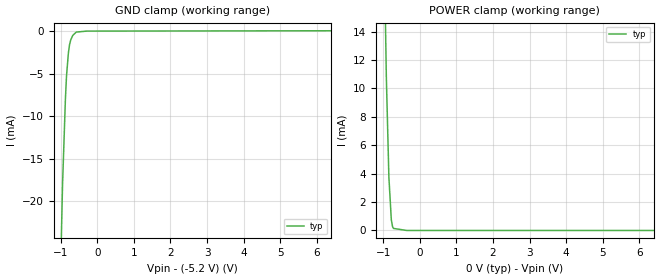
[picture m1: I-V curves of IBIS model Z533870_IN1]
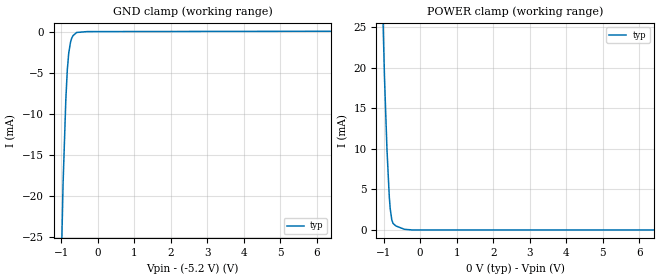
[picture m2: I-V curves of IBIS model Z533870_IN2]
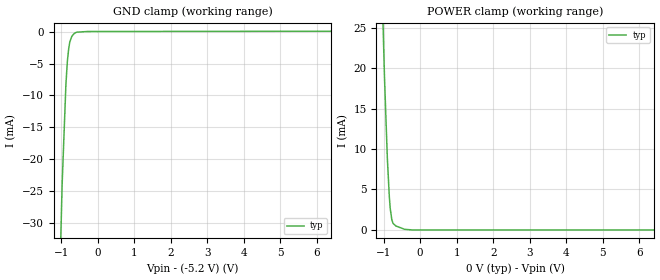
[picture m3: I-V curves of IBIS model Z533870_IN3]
| YOU ARE ONLY AUTHORIZED TO USE THIS SOFTWARE
| ACCORDING TO LICENSOR'S LICENSE RESTRICTIONS.
[IBIS Ver] 3.1
[File Name] mc100el33d.ibs
[File Rev] 2.0
[Source] Measured and created by ICX Technology
[Date] Friday 7/14/00 9:07:48 AM
[Copyright]
| (C) COPYRIGHT 1993-2000
| MENTOR GRAPHICS CORPORATION
| ICX STANDARD LIBRARY, ICX PROJECT MODELING,
| ICX CUSTOM MODELING, ICX VENDOR MODEL
| ALL RIGHTS RESERVED.
| THE FOLLOWING ARE TRADEMARKS OR SERVICE MARKS OF
| MENTOR GRAPHICS CORPORATION:ICX (R), ICX STANDARD
| LIBRARY(R), ICX PROJECT MODELING(R), ICX CUSTOM
| MODELING(R), qualityIBIS(TM), MODELVIEWER(TM),
| AND MODELEDITOR(TM)
| ALL COPIES OF SOFTWARE, INCLUDING BUT NOT LIMITED TO
| ANY MODIFICATIONS, ENHANCEMENTS OR DERIVATIVE WORKS,
| MUST CONTAIN ALL MENTOR GRAPHICS CORPORATION'S
| NOTICES AND LEGENDS, INCLUDING THOSE EMBEDDED IN
| SOFTWARE AND THOSE AFFIXED TO SOFTWARE MEDIUM
| AND CONTAINER, AS RECEIVED FROM MENTOR GRAPHICS
| CORPORATION.
|  ZAP Model Builder 2.7
[Component] MC100EL33D
[Manufacturer] OnSemiconductor
[Package]
| variable   typ   min   max
R_pkg  .152ohms NA NA
L_pkg  2.714nH NA NA
C_pkg  .364pF NA NA
[Pin] signal_name  model_name  R_pin  L_pin C_pin
1 RESET Z533870_IN1 .154 2.924n .374p
2 CLK Z533870_IN2 .15 2.504n .354p
3 _CLK Z533870_IN3 .15 2.504n .354p
4 VBB POWER .154 2.924n .374p
5 VEE POWER .154 2.924n .374p
6 _Q Z533870_OUT4 .15 2.504n .354p
7 Q Z533870_OUT5 .15 2.504n .354p
8 VCC POWER .154 2.924n .374p
| Models and submodels in the file (5): Z533870_IN1 (Input_ECL), Z533870_IN2 (Input_ECL), Z533870_IN3 (Input_ECL), Z533870_OUT4 (Output_ECL), Z533870_OUT5 (Output_ECL)
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| (C) COPYRIGHT 1993-2000
| MENTOR GRAPHICS CORPORATION
| ICX STANDARD LIBRARY, ICX PROJECT MODELING,
| ICX CUSTOM MODELING, ICX VENDOR MODEL
| ALL RIGHTS RESERVED.
| THE FOLLOWING ARE TRADEMARKS OR SERVICE MARKS OF
| MENTOR GRAPHICS CORPORATION:ICX (R), ICX STANDARD
| LIBRARY(R), ICX PROJECT MODELING(R), ICX CUSTOM
| MODELING(R), qualityIBIS(TM), MODELVIEWER(TM),
| AND MODELEDITOR(TM)
| ALL COPIES OF SOFTWARE, INCLUDING BUT NOT LIMITED TO
| ANY MODIFICATIONS, ENHANCEMENTS OR DERIVATIVE WORKS,
| MUST CONTAIN ALL MENTOR GRAPHICS CORPORATION'S
| NOTICES AND LEGENDS, INCLUDING THOSE EMBEDDED IN
| SOFTWARE AND THOSE AFFIXED TO SOFTWARE MEDIUM
| AND CONTAINER, AS RECEIVED FROM MENTOR GRAPHICS
| CORPORATION.
| Model Application Version 1.89 2/18/99.
[Model] Z533870_IN1
Model_type Input_ECL
Vinl = -1.475V
Vinh = -1.165V
C_comp 4.000pF NA NA
| variable typ   min   max
[Voltage Range] -5.200V NA NA
[GND Clamp Reference] -5.200V NA NA
[POWER Clamp Reference] 0.000V NA NA
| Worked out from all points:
|   GND clamp passes 1 mA (typ) near -0.73 V on its own axis
|   POWER clamp passes 1 mA (typ) near -0.79 V on its own axis
[GND Clamp]
-5.2V     -822.8mA   NA         NA
-953mV    -18.02mA   NA         NA
-875mV    -7.989mA   NA         NA
-845mV    -5.28mA    NA         NA
-793mV    -2.545mA   NA         NA
-763mV    -1.614mA   NA         NA
-727mV    -995.4uA   NA         NA
-674mV    -489.5uA   NA         NA
-578mV    -96.15uA   NA         NA
-289mV    19.51uA    NA         NA
10.4V     83.8uA     NA         NA
[POWER Clamp]
-5.2V     1.929A     NA         NA
-1.123V   51.59mA    NA         NA
-1.055V   32.7mA     NA         NA
-918mV    10.83mA    NA         NA
-848.2mV  3.764mA    NA         NA
-781.2mV  741uA      NA         NA
-747mV    264.5uA    NA         NA
-722.7mV  145.6uA    NA         NA
-361.3mV  0A         NA         NA
10.4V     0A         NA         NA
| (C) COPYRIGHT 1993-2000
| MENTOR GRAPHICS CORPORATION
| ICX STANDARD LIBRARY, ICX PROJECT MODELING,
| ICX CUSTOM MODELING, ICX VENDOR MODEL
| ALL RIGHTS RESERVED.
| THE FOLLOWING ARE TRADEMARKS OR SERVICE MARKS OF
| MENTOR GRAPHICS CORPORATION:ICX (R), ICX STANDARD
| LIBRARY(R), ICX PROJECT MODELING(R), ICX CUSTOM
| MODELING(R), qualityIBIS(TM), MODELVIEWER(TM),
| AND MODELEDITOR(TM)
| ALL COPIES OF SOFTWARE, INCLUDING BUT NOT LIMITED TO
| ANY MODIFICATIONS, ENHANCEMENTS OR DERIVATIVE WORKS,
| MUST CONTAIN ALL MENTOR GRAPHICS CORPORATION'S
| NOTICES AND LEGENDS, INCLUDING THOSE EMBEDDED IN
| SOFTWARE AND THOSE AFFIXED TO SOFTWARE MEDIUM
| AND CONTAINER, AS RECEIVED FROM MENTOR GRAPHICS
| CORPORATION.
| Model Application Version 1.89 2/18/99.
[Model] Z533870_IN2
Model_type Input_ECL
Vinl = -1.475V
Vinh = -1.165V
C_comp 4.000pF NA NA
| variable typ   min   max
[Voltage Range] -5.200V NA NA
[GND Clamp Reference] -5.200V NA NA
[POWER Clamp Reference] 0.000V NA NA
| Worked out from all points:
|   GND clamp passes 1 mA (typ) near -0.72 V on its own axis
|   POWER clamp passes 1 mA (typ) near -0.76 V on its own axis
[GND Clamp]
-5.2V     -877.9mA   NA         NA
-947mV    -18.53mA   NA         NA
-871mV    -8.213mA   NA         NA
-830mV    -4.599mA   NA         NA
-791mV    -2.576mA   NA         NA
-742mV    -1.253mA   NA         NA
-708mV    -756.8uA   NA         NA
-672mV    -466uA     NA         NA
-576mV    -90.85uA   NA         NA
-288mV    18.12uA    NA         NA
10.4V     83.01uA    NA         NA
[POWER Clamp]
-5.2V     1.761A     NA         NA
-1.084V   37.7mA     NA         NA
-976.6mV  18.88mA    NA         NA
-908mV    9.905mA    NA         NA
-844.7mV  4.088mA    NA         NA
-820.3mV  2.657mA    NA         NA
-776mV    1.244mA    NA         NA
-742mV    802.2uA    NA         NA
-661.3mV  488.8uA    NA         NA
-428.2mV  83.66uA    NA         NA
-214.1mV  0A         NA         NA
10.4V     0A         NA         NA
| (C) COPYRIGHT 1993-2000
| MENTOR GRAPHICS CORPORATION
| ICX STANDARD LIBRARY, ICX PROJECT MODELING,
| ICX CUSTOM MODELING, ICX VENDOR MODEL
| ALL RIGHTS RESERVED.
| THE FOLLOWING ARE TRADEMARKS OR SERVICE MARKS OF
| MENTOR GRAPHICS CORPORATION:ICX (R), ICX STANDARD
| LIBRARY(R), ICX PROJECT MODELING(R), ICX CUSTOM
| MODELING(R), qualityIBIS(TM), MODELVIEWER(TM),
| AND MODELEDITOR(TM)
| ALL COPIES OF SOFTWARE, INCLUDING BUT NOT LIMITED TO
| ANY MODIFICATIONS, ENHANCEMENTS OR DERIVATIVE WORKS,
| MUST CONTAIN ALL MENTOR GRAPHICS CORPORATION'S
| NOTICES AND LEGENDS, INCLUDING THOSE EMBEDDED IN
| SOFTWARE AND THOSE AFFIXED TO SOFTWARE MEDIUM
| AND CONTAINER, AS RECEIVED FROM MENTOR GRAPHICS
| CORPORATION.
| Model Application Version 1.89 2/18/99.
[Model] Z533870_IN3
Model_type Input_ECL
Vinl = -1.475V
Vinh = -1.165V
C_comp 4.000pF NA NA
| variable typ   min   max
[Voltage Range] -5.200V NA NA
[GND Clamp Reference] -5.200V NA NA
[POWER Clamp Reference] 0.000V NA NA
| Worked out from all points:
|   GND clamp passes 1 mA (typ) near -0.72 V on its own axis
|   POWER clamp passes 1 mA (typ) near -0.76 V on its own axis
[GND Clamp]
-5.2V     -972.8mA   NA         NA
-972mV    -23.92mA   NA         NA
-869mV    -8.288mA   NA         NA
-829mV    -4.634mA   NA         NA
-791mV    -2.594mA   NA         NA
-762mV    -1.62mA    NA         NA
-708mV    -758.1uA   NA         NA
-669mV    -467.3uA   NA         NA
-634mV    -273uA     NA         NA
-576mV    -89.99uA   NA         NA
-288mV    17.26uA    NA         NA
10.4V     88.01uA    NA         NA
[POWER Clamp]
-5.2V     1.657A     NA         NA
-1.058V   32.37mA    NA         NA
-976.5mV  18.9mA     NA         NA
-898.4mV  8.905mA    NA         NA
-844.3mV  4.138mA    NA         NA
-820.3mV  2.702mA    NA         NA
-775.8mV  1.275mA    NA         NA
-742.1mV  811.3uA    NA         NA
-661.5mV  487.2uA    NA         NA
-427.9mV  86.78uA    NA         NA
-213.9mV  0A         NA         NA
10.4V     0A         NA         NA
